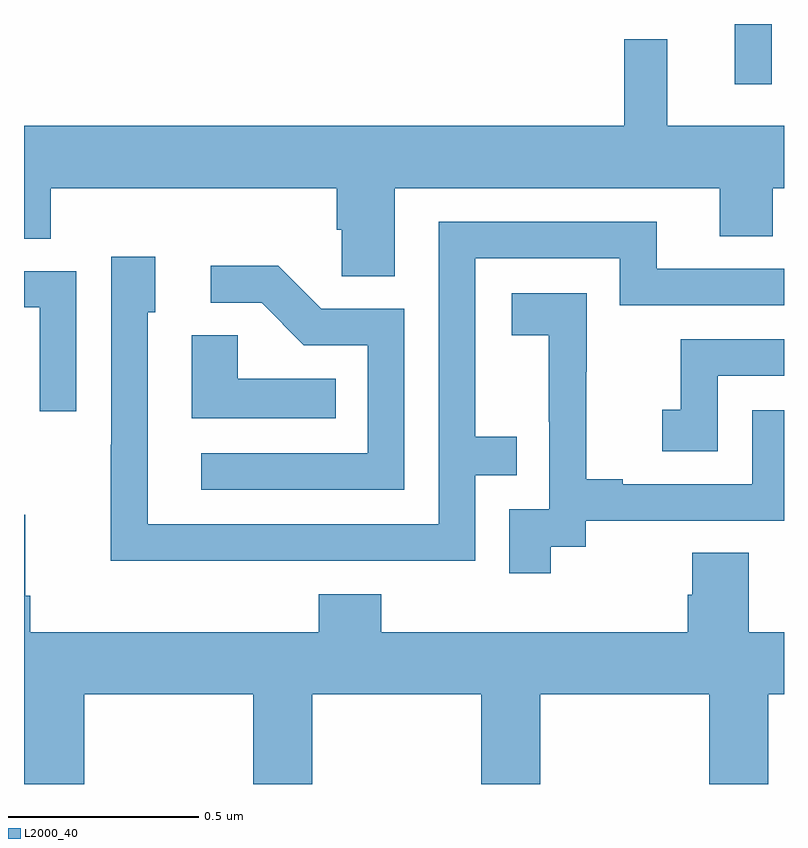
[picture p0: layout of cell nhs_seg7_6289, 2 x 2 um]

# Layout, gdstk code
import gdstk
lib = gdstk.Library(unit=1e-6, precision=1e-09)
def R(c, l, rs):  # rectangles x0, y0, x1, y1
    for r in rs: c.add(gdstk.rectangle(r[:2], r[2:], *l))
def P(c, l, *ps):  # polygons
    for p in ps: c.add(gdstk.Polygon(p, *l))
L2000_40 = (2000, 40)

nhs_seg7_6289 = lib.new_cell('nhs_seg7_6289')
R(nhs_seg7_6289, L2000_40, [(197.871,1048.842,197.968,1049)])
P(nhs_seg7_6289, L2000_40, [(196.975,1048.568),(197.831,1048.568),(197.831,1048.441),(197.97,1048.441),(197.97,1048.568),(198,1048.568),(198,1048.732),(197.693,1048.732),(197.693,1048.96),(197.579,1048.96),(197.579,1048.732),(196,1048.732),(196,1048.435),(196.07,1048.435),(196.07,1048.568),(196.823,1048.568),(196.823,1048.459),(196.836,1048.459),(196.836,1048.336),(196.975,1048.336)],
  [(196.691,1047.588),(197.187,1047.588),(197.187,1047.813),(197.297,1047.813),(197.297,1047.914),(197.187,1047.914),(197.187,1048.383),(197.568,1048.383),(197.568,1048.26),(198,1048.26),(198,1048.356),(197.665,1048.356),(197.665,1048.479),(197.091,1048.479),(197.091,1047.684),(196.326,1047.684),(196.326,1048.242),(196.345,1048.242),(196.345,1048.387),(196.23,1048.387),(196.23,1047.893),(196.228,1047.893),(196.228,1047.587),(196.691,1047.587)],
  [(197.001,1048.251),(196.782,1048.251),(196.669,1048.364),(196.491,1048.364),(196.491,1048.266),(196.625,1048.266),(196.736,1048.155),(196.905,1048.155),(196.905,1047.87),(196.467,1047.87),(196.467,1047.774),(197.001,1047.774)],
  [(196.137,1048.35),(196,1048.35),(196,1048.254),(196.041,1048.254),(196.041,1047.981),(196.137,1047.981)],
  [(197.386,1047.625),(197.478,1047.625),(197.478,1047.693),(198,1047.693),(198,1047.984),(197.916,1047.984),(197.916,1047.789),(197.575,1047.789),(197.575,1047.802),(197.48,1047.802),(197.48,1048.085),(197.481,1048.085),(197.481,1048.291),(197.283,1048.291),(197.283,1048.181),(197.381,1048.181),(197.381,1047.953),(197.382,1047.953),(197.382,1047.723),(197.277,1047.723),(197.277,1047.555),(197.386,1047.555)],
  [(196.82,1048.066),(196.563,1048.066),(196.563,1048.181),(196.442,1048.181),(196.442,1047.962),(196.82,1047.962)],
  [(197.826,1048.074),(198,1048.074),(198,1048.17),(197.728,1048.17),(197.728,1047.985),(197.679,1047.985),(197.679,1047.876),(197.826,1047.876)],
  [(196.158,1047.236),(196.603,1047.236),(196.603,1047),(196.758,1047),(196.758,1047.236),(197.203,1047.236),(197.203,1047),(197.358,1047),(197.358,1047.236),(197.803,1047.236),(197.803,1047),(197.958,1047),(197.958,1047.236),(198,1047.236),(198,1047.4),(197.907,1047.4),(197.907,1047.608),(197.759,1047.608),(197.759,1047.498),(197.747,1047.498),(197.747,1047.4),(196.94,1047.4),(196.94,1047.499),(196.775,1047.499),(196.775,1047.4),(196.016,1047.4),(196.016,1047.496),(196.003,1047.496),(196.003,1047.709),(196,1047.709),(196,1047),(196.158,1047)])

lib.write_gds('nhs_seg7_6289.gds')
